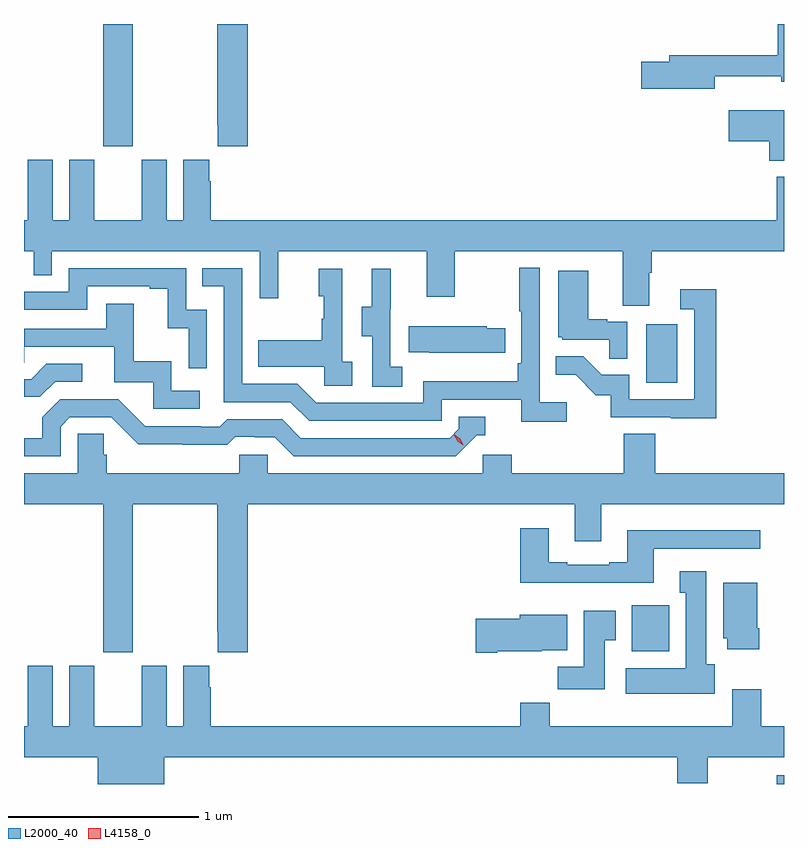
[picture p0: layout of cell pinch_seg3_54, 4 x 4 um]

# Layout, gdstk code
import gdstk
lib = gdstk.Library(unit=1e-6, precision=1e-09)
def R(c, l, rs):  # rectangles x0, y0, x1, y1
    for r in rs: c.add(gdstk.rectangle(r[:2], r[2:], *l))
def P(c, l, *ps):  # polygons
    for p in ps: c.add(gdstk.Polygon(p, *l))
L2000_40 = (2000, 40)
L4158_0 = (4158, 0)

pinch_seg3_54 = lib.new_cell('pinch_seg3_54')
R(pinch_seg3_54, L2000_40, [(1070.256,736.74,1070.294,736.785), (1069.493,737.438,1069.69,737.68), (1069.568,738.852,1069.732,739.159), (1066.711,740.097,1066.866,740.74)])
P(pinch_seg3_54, L2000_40, [(1069.93,740.465),(1070.279,740.465),(1070.279,740.435),(1070.294,740.435),(1070.294,740.74),(1070.26,740.74),(1070.26,740.575),(1069.691,740.575),(1069.691,740.541),(1069.542,740.541),(1069.542,740.399),(1069.93,740.399)],
  [(1067.471,740.74),(1067.311,740.74),(1067.311,740.209),(1067.315,740.209),(1067.315,740.097),(1067.471,740.097)],
  [(1070.294,740.287),(1070.004,740.287),(1070.004,740.122),(1070.216,740.122),(1070.216,740.021),(1070.294,740.021)],
  [(1067.276,739.913),(1067.269,739.913),(1067.269,740.026),(1067.132,740.026),(1067.132,739.708),(1067.044,739.708),(1067.044,740.026),(1066.913,740.026),(1066.913,739.708),(1066.663,739.708),(1066.663,740.026),(1066.532,740.026),(1066.532,739.708),(1066.444,739.708),(1066.444,740.026),(1066.313,740.026),(1066.313,739.708),(1066.294,739.708),(1066.294,739.544),(1066.344,739.544),(1066.344,739.417),(1066.44,739.417),(1066.44,739.544),(1067.535,739.544),(1067.535,739.296),(1067.633,739.296),(1067.633,739.544),(1068.413,739.544),(1068.413,739.305),(1068.561,739.305),(1068.561,739.544),(1069.445,739.544),(1069.445,739.258),(1069.585,739.258),(1069.585,739.432),(1069.598,739.432),(1069.598,739.544),(1070.294,739.544),(1070.294,739.936),(1070.257,739.936),(1070.257,739.708),(1067.276,739.708)],
  [(1069.15,738.748),(1069.008,738.748),(1069.008,739.456),(1068.9,739.456),(1068.9,739.228),(1068.912,739.228),(1068.912,738.955),(1068.892,738.955),(1068.892,738.859),(1068.396,738.859),(1068.396,738.747),(1067.832,738.747),(1067.733,738.846),(1067.442,738.846),(1067.442,739.455),(1067.233,739.455),(1067.233,739.359),(1067.346,739.359),(1067.346,738.75),(1067.696,738.75),(1067.795,738.651),(1068.492,738.651),(1068.492,738.762),(1068.911,738.762),(1068.911,738.646),(1069.15,738.646)],
  [(1067.256,739.236),(1067.148,739.236),(1067.148,739.455),(1066.53,739.455),(1066.53,739.332),(1066.294,739.332),(1066.294,739.236),(1066.626,739.236),(1066.626,739.359),(1066.955,739.359),(1066.955,739.347),(1067.051,739.347),(1067.051,739.139),(1067.16,739.139),(1067.16,738.927),(1067.256,738.927)],
  [(1068.286,738.935),(1068.222,738.935),(1068.222,739.239),(1068.224,739.239),(1068.224,739.453),(1068.125,739.453),(1068.125,739.251),(1068.071,739.251),(1068.071,739.096),(1068.126,739.096),(1068.126,738.832),(1068.286,738.832)],
  [(1068.022,738.962),(1067.97,738.962),(1067.97,739.453),(1067.846,739.453),(1067.846,739.308),(1067.872,739.308),(1067.872,739.19),(1067.862,739.19),(1067.862,739.075),(1067.527,739.075),(1067.527,738.935),(1067.874,738.935),(1067.874,738.837),(1068.022,738.837)],
  [(1069.47,739.173),(1069.364,739.173),(1069.364,739.186),(1069.264,739.186),(1069.264,739.441),(1069.106,739.441),(1069.106,739.092),(1069.128,739.092),(1069.128,739.077),(1069.375,739.077),(1069.375,738.979),(1069.47,738.979)],
  [(1069.937,739.345),(1069.749,739.345),(1069.749,739.239),(1069.821,739.239),(1069.821,738.765),(1069.479,738.765),(1069.479,738.894),(1069.335,738.894),(1069.237,738.992),(1069.093,738.992),(1069.093,738.893),(1069.197,738.893),(1069.304,738.786),(1069.381,738.786),(1069.381,738.669),(1069.699,738.669),(1069.699,738.664),(1069.937,738.664)],
  [(1067.218,738.81),(1067.07,738.81),(1067.07,738.964),(1066.871,738.964),(1066.871,739.267),(1066.727,739.267),(1066.727,739.137),(1066.294,739.137),(1066.294,738.957),(1066.295,738.957),(1066.295,739.041),(1066.769,739.041),(1066.769,738.855),(1066.974,738.855),(1066.974,738.714),(1067.218,738.714)],
  [(1068.827,739.14),(1068.729,739.14),(1068.729,739.15),(1068.319,739.15),(1068.319,739.013),(1068.427,739.013),(1068.427,739.01),(1068.827,739.01)],
  [(1066.458,738.858),(1066.6,738.858),(1066.6,738.951),(1066.412,738.951),(1066.331,738.87),(1066.294,738.87),(1066.294,738.778),(1066.378,738.778)],
  [(1066.488,738.621),(1066.536,738.669),(1066.752,738.669),(1066.894,738.527),(1067.13,738.527),(1067.13,738.525),(1067.363,738.525),(1067.405,738.567),(1067.508,738.567),(1067.508,738.564),(1067.615,738.564),(1067.714,738.465),(1068.567,738.465),(1068.678,738.576),(1068.721,738.576),(1068.721,738.672),(1068.582,738.672),(1068.582,738.609),(1068.534,738.561),(1067.751,738.561),(1067.652,738.66),(1067.363,738.66),(1067.324,738.621),(1067.225,738.621),(1067.225,738.624),(1066.932,738.624),(1066.791,738.765),(1066.485,738.765),(1066.391,738.671),(1066.391,738.561),(1066.294,738.561),(1066.294,738.465),(1066.488,738.465)],
  [(1066.866,738.212),(1067.311,738.212),(1067.311,737.545),(1067.315,737.545),(1067.315,737.433),(1067.471,737.433),(1067.471,738.212),(1069.193,738.212),(1069.193,738.018),(1069.333,738.018),(1069.333,738.212),(1070.294,738.212),(1070.294,738.376),(1069.616,738.376),(1069.616,738.584),(1069.451,738.584),(1069.451,738.376),(1068.86,738.376),(1068.86,738.474),(1068.708,738.474),(1068.708,738.376),(1067.577,738.376),(1067.577,738.474),(1067.427,738.474),(1067.427,738.376),(1066.73,738.376),(1066.73,738.474),(1066.715,738.474),(1066.715,738.584),(1066.578,738.584),(1066.578,738.376),(1066.294,738.376),(1066.294,738.212),(1066.711,738.212),(1066.711,737.433),(1066.866,737.433)],
  [(1069.609,737.979),(1070.17,737.979),(1070.17,738.076),(1069.469,738.076),(1069.469,737.908),(1069.373,737.908),(1069.373,737.895),(1069.153,737.895),(1069.153,737.908),(1069.057,737.908),(1069.057,738.085),(1068.905,738.085),(1068.905,737.798),(1069.609,737.798)],
  [(1069.93,737.37),(1069.885,737.37),(1069.885,737.86),(1069.745,737.86),(1069.745,737.747),(1069.778,737.747),(1069.778,737.35),(1069.461,737.35),(1069.461,737.216),(1069.93,737.216)],
  [(1070.165,737.56),(1070.152,737.56),(1070.152,737.8),(1069.973,737.8),(1069.973,737.508),(1069.994,737.508),(1069.994,737.448),(1070.165,737.448)],
  [(1069.351,737.497),(1069.408,737.497),(1069.408,737.653),(1069.241,737.653),(1069.241,737.356),(1069.102,737.356),(1069.102,737.238),(1069.351,737.238)],
  [(1068.784,737.438),(1069.02,737.438),(1069.02,737.444),(1069.153,737.444),(1069.153,737.632),(1068.902,737.632),(1068.902,737.609),(1068.672,737.609),(1068.672,737.431),(1068.784,737.431)],
  [(1067.032,736.88),(1069.733,736.88),(1069.733,736.745),(1069.893,736.745),(1069.893,736.88),(1070.294,736.88),(1070.294,737.044),(1070.174,737.044),(1070.174,737.239),(1070.021,737.239),(1070.021,737.044),(1069.061,737.044),(1069.061,737.168),(1068.905,737.168),(1068.905,737.044),(1067.276,737.044),(1067.276,737.249),(1067.269,737.249),(1067.269,737.362),(1067.132,737.362),(1067.132,737.044),(1067.044,737.044),(1067.044,737.362),(1066.913,737.362),(1066.913,737.044),(1066.663,737.044),(1066.663,737.362),(1066.532,737.362),(1066.532,737.044),(1066.444,737.044),(1066.444,737.362),(1066.313,737.362),(1066.313,737.044),(1066.294,737.044),(1066.294,736.88),(1066.682,736.88),(1066.682,736.74),(1067.032,736.74)])
P(pinch_seg3_54, L4158_0, [(1068.606,738.524),(1068.576,738.544),(1068.559,738.576),(1068.559,738.577),(1068.56,738.577),(1068.59,738.557),(1068.606,738.524),(1068.606,738.524)])

lib.write_gds('pinch_seg3_54.gds')
